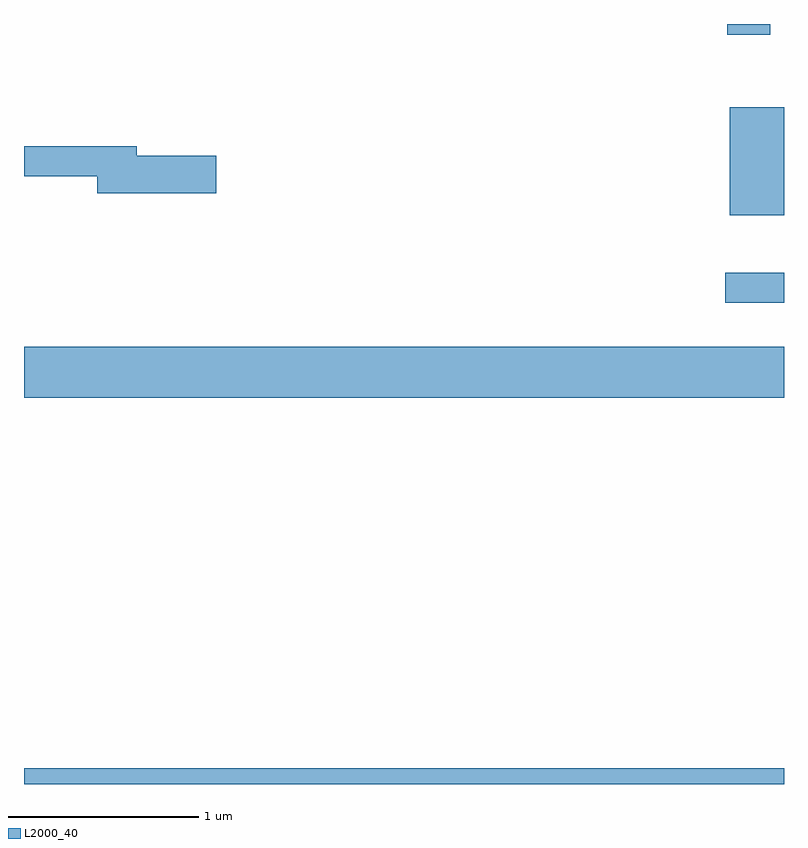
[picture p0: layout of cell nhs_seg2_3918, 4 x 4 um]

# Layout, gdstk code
import gdstk
lib = gdstk.Library(unit=1e-6, precision=1e-09)
def R(c, l, rs):  # rectangles x0, y0, x1, y1
    for r in rs: c.add(gdstk.rectangle(r[:2], r[2:], *l))
def P(c, l, *ps):  # polygons
    for p in ps: c.add(gdstk.Polygon(p, *l))
L2000_40 = (2000, 40)

nhs_seg2_3918 = lib.new_cell('nhs_seg2_3918')
R(nhs_seg2_3918, L2000_40, [(299.611,1081.802,303.611,1081.884), (299.611,1083.836,303.611,1084.104), (303.303,1084.336,303.611,1084.494), (303.326,1084.796,303.611,1085.364), (303.311,1085.746,303.539,1085.802)])
P(nhs_seg2_3918, L2000_40, [(300.624,1085.109),(300.204,1085.109),(300.204,1085.159),(299.611,1085.159),(299.611,1085.001),(299.996,1085.001),(299.996,1084.911),(300.624,1084.911)])

lib.write_gds('nhs_seg2_3918.gds')
